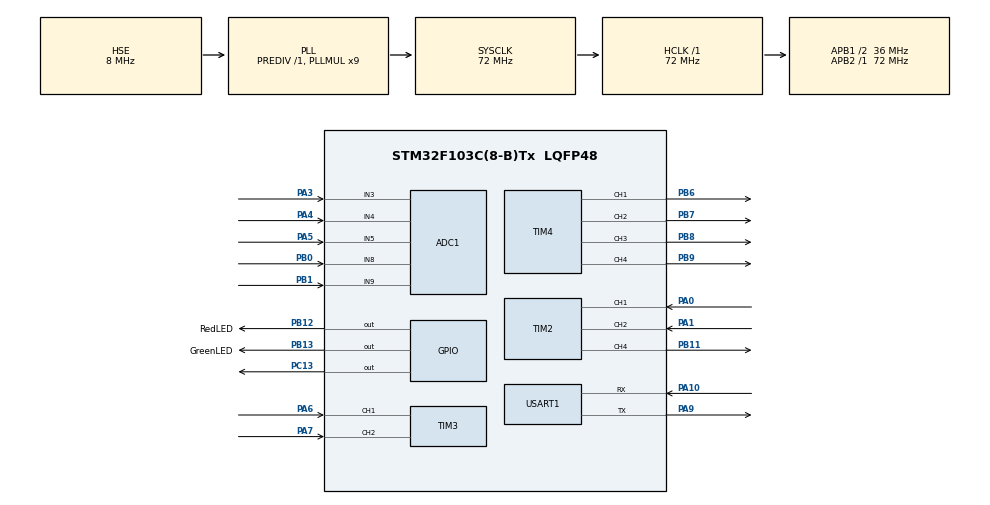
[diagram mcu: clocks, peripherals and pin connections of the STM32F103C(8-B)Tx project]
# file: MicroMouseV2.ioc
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ADC1.Channel-2\#ChannelRegularConversion=ADC_CHANNEL_3
ADC1.Channel-3\#ChannelRegularConversion=ADC_CHANNEL_4
ADC1.Channel-4\#ChannelRegularConversion=ADC_CHANNEL_5
ADC1.Channel-5\#ChannelRegularConversion=ADC_CHANNEL_8
ADC1.Channel-6\#ChannelRegularConversion=ADC_CHANNEL_9
ADC1.ContinuousConvMode=DISABLE
ADC1.NbrOfConversion=5
ADC1.NbrOfConversionFlag=1
ADC1.Rank-2\#ChannelRegularConversion=1
ADC1.Rank-3\#ChannelRegularConversion=2
ADC1.Rank-4\#ChannelRegularConversion=3
ADC1.Rank-5\#ChannelRegularConversion=4
ADC1.Rank-6\#ChannelRegularConversion=5
ADC1.SamplingTime-2\#ChannelRegularConversion=ADC_SAMPLETIME_13CYCLES_5
ADC1.SamplingTime-3\#ChannelRegularConversion=ADC_SAMPLETIME_13CYCLES_5
ADC1.SamplingTime-4\#ChannelRegularConversion=ADC_SAMPLETIME_13CYCLES_5
ADC1.SamplingTime-5\#ChannelRegularConversion=ADC_SAMPLETIME_13CYCLES_5
ADC1.SamplingTime-6\#ChannelRegularConversion=ADC_SAMPLETIME_13CYCLES_5
ADC1.master=1
Dma.ADC1.0.Direction=DMA_PERIPH_TO_MEMORY
Dma.ADC1.0.Instance=DMA1_Channel1
Dma.ADC1.0.MemDataAlignment=DMA_MDATAALIGN_HALFWORD
Dma.ADC1.0.MemInc=DMA_MINC_ENABLE
Dma.ADC1.0.Mode=DMA_CIRCULAR
Dma.ADC1.0.PeriphDataAlignment=DMA_PDATAALIGN_HALFWORD
Dma.ADC1.0.PeriphInc=DMA_PINC_DISABLE
Dma.ADC1.0.Priority=DMA_PRIORITY_LOW
Dma.Request0=ADC1
FREERTOS.Tasks01=OdometryUpdate,0,128,StartOdometryUpdate,Default,NULL,Dynamic,NULL,NULL;MotorController,0,128,StartMotorController,Default,NULL,Dynamic,NULL,NULL;PIDUpdate,0,128,StartPIDUpdate,Default,NULL,Dynamic,NULL,NULL;ReadIRSensors,-3,128,StartReadIRSensors,Default,NULL,Dynamic,NULL,NULL
FREERTOS.configUSE_NEWLIB_REENTRANT=1
Mcu.Family=STM32F1
Mcu.Name=STM32F103C(8-B)Tx
Mcu.Package=LQFP48
NVIC.DMA1_Channel1_IRQn=true\:5\:0\:false\:false\:true\:true\:false\:true\:true
NVIC.PriorityGroup=NVIC_PRIORITYGROUP_4
NVIC.RCC_IRQn=true\:5\:0\:false\:false\:true\:true\:true\:false\:true
NVIC.TIM1_UP_IRQn=true\:15\:0\:false\:false\:true\:false\:false\:true\:true
NVIC.TIM2_IRQn=true\:5\:0\:false\:false\:true\:true\:true\:true\:true
NVIC.TimeBase=TIM1_UP_IRQn
NVIC.TimeBaseIP=TIM1
NVIC.USART1_IRQn=true\:5\:0\:false\:false\:true\:true\:true\:true\:true
PA0-WKUP.Signal=S_TIM2_CH1_ETR
PA1.Signal=S_TIM2_CH2
PA10.Mode=Asynchronous
PA10.Signal=USART1_RX
PA3.Signal=SharedAnalog_PA3
PA4.Signal=SharedAnalog_PA4
PA5.Signal=SharedAnalog_PA5
PA6.Signal=S_TIM3_CH1
PA7.Signal=S_TIM3_CH2
PA9.Mode=Asynchronous
PA9.Signal=USART1_TX
PB0.Signal=SharedAnalog_PB0
PB1.Signal=SharedAnalog_PB1
PB11.Signal=S_TIM2_CH4
PB12.GPIO_Label=RedLED
PB12.Signal=GPIO_Output
PB13.GPIO_Label=GreenLED
PB13.Signal=GPIO_Output
PB6.Signal=S_TIM4_CH1
PB7.Signal=S_TIM4_CH2
PB8.Signal=S_TIM4_CH3
PB9.Signal=S_TIM4_CH4
PC13-TAMPER-RTC.Signal=GPIO_Output
PD0-OSC_IN.Mode=HSE-External-Oscillator
PD0-OSC_IN.Signal=RCC_OSC_IN
PD1-OSC_OUT.Mode=HSE-External-Oscillator
PD1-OSC_OUT.Signal=RCC_OSC_OUT
ProjectManager.HeapSize=0x200
ProjectManager.StackSize=0x400
ProjectManager.TargetToolchain=STM32CubeIDE
RCC.ADCPresc=RCC_ADCPCLK2_DIV6
RCC.AHBFreq_Value=72000000
RCC.APB1CLKDivider=RCC_HCLK_DIV2
RCC.APB1Freq_Value=36000000
RCC.APB1TimFreq_Value=72000000
RCC.APB2Freq_Value=72000000
RCC.APB2TimFreq_Value=72000000
RCC.HCLKFreq_Value=72000000
RCC.PLLMUL=RCC_PLL_MUL9
RCC.PLLSourceVirtual=RCC_PLLSOURCE_HSE
RCC.SYSCLKFreq_VALUE=72000000
RCC.SYSCLKSource=RCC_SYSCLKSOURCE_PLLCLK
RCC.USBFreq_Value=72000000
SH.S_TIM2_CH1_ETR.0=TIM2_CH1,Encoder_Interface
SH.S_TIM2_CH2.0=TIM2_CH2,Encoder_Interface
SH.S_TIM2_CH4.0=TIM2_CH4,PWM Generation4 CH4
SH.S_TIM3_CH1.0=TIM3_CH1,Encoder_Interface
SH.S_TIM3_CH2.0=TIM3_CH2,Encoder_Interface
SH.S_TIM4_CH1.0=TIM4_CH1,PWM Generation1 CH1
SH.S_TIM4_CH2.0=TIM4_CH2,PWM Generation2 CH2
SH.S_TIM4_CH3.0=TIM4_CH3,PWM Generation3 CH3
SH.S_TIM4_CH4.0=TIM4_CH4,PWM Generation4 CH4
SH.SharedAnalog_PA3.0=GPIO_Analog
SH.SharedAnalog_PA3.1=ADC1_IN3,IN3
SH.SharedAnalog_PA4.0=GPIO_Analog
SH.SharedAnalog_PA4.1=ADC1_IN4,IN4
SH.SharedAnalog_PA5.0=GPIO_Analog
SH.SharedAnalog_PA5.1=ADC1_IN5,IN5
SH.SharedAnalog_PB0.0=GPIO_Analog
SH.SharedAnalog_PB0.1=ADC1_IN8,IN8
SH.SharedAnalog_PB1.0=GPIO_Analog
SH.SharedAnalog_PB1.1=ADC1_IN9,IN9
TIM2.AutoReloadPreload=TIM_AUTORELOAD_PRELOAD_ENABLE
TIM2.Channel-PWM\ Generation4\ CH4=TIM_CHANNEL_4
TIM2.EncoderMode=TIM_ENCODERMODE_TI12
TIM2.IC1Filter=10
TIM2.IC2Filter=10
TIM4.AutoReloadPreload=TIM_AUTORELOAD_PRELOAD_ENABLE
TIM4.Channel-PWM\ Generation1\ CH1=TIM_CHANNEL_1
TIM4.Channel-PWM\ Generation2\ CH2=TIM_CHANNEL_2
TIM4.Channel-PWM\ Generation3\ CH3=TIM_CHANNEL_3
TIM4.Channel-PWM\ Generation4\ CH4=TIM_CHANNEL_4
USART1.VirtualMode=VM_ASYNC
VP_FREERTOS_VS_CMSIS_V1.Mode=CMSIS_V1
VP_SYS_VS_ND.Mode=No_Debug
VP_SYS_VS_tim1.Mode=TIM1
VP_TIM4_VS_ClockSourceINT.Mode=Internal
board=custom

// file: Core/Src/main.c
/* USER CODE BEGIN Header */
/**
  ******************************************************************************
  * @file           : main.c
  * @brief          : Main program body
  ******************************************************************************
  * @attention
  *
  * Copyright (c) 2022 STMicroelectronics.
  * All rights reserved.
  *
  * This software is licensed under terms that can be found in the LICENSE file
  * in the root directory of this software component.
  * If no LICENSE file comes with this software, it is provided AS-IS.
  *
  ******************************************************************************
  */
/* USER CODE END Header */
#include "main.h"
#include "cmsis_os.h"

/* USER CODE BEGIN Includes */
#include <math.h>
#include <stdio.h>
/* USER CODE END Includes */

ADC_HandleTypeDef hadc1;
DMA_HandleTypeDef hdma_adc1;

TIM_HandleTypeDef htim2;
TIM_HandleTypeDef htim3;
TIM_HandleTypeDef htim4;

UART_HandleTypeDef huart1;

osThreadId OdometryUpdateHandle;
osThreadId MotorControllerHandle;
osThreadId PIDUpdateHandle;
osThreadId ReadIRSensorsHandle;
/* USER CODE BEGIN PV */
//------IR Sensors-------//
volatile uint16_t adcResultsDMA[5];
const int adcChannelCount = sizeof (adcResultsDMA) / sizeof (adcResultsDMA[0]);
volatile int adcConversionComplete = 0;
char message[70] = {'\0'};
int lenMessage;
int CH1, CH2, CH3, CH4, CH5;
//------Motor PD---------//

//Initial Pose
double x = 0;
double y = 0;
float theta = 0;

#define mmPerTick 0.55   //Linear distance per tick of each encoder with the 63 mm wheel
#define L 152   //Distance wheel to wheel (mm)

//const float pi = 3.141592;
//New variables
int RTicks = 0;
int LTicks = 0;
int PrevRTicks = 0;
int PrevLTicks = 0;
int RdtTicks = 0;
int LdtTicks = 0;
float Rdist = 0;
float Ldist = 0;
float Cdist = 0;
float thetaDeg = 0;
float thetaDegError = 0;
//uint8_t message[50] = {'\0'};
//uint8_t message[50] = {'\0'};
int lenMessage;
//Goal variables

//const int gx = 0;
//const int gy = 300;

//PD variables and controller variables
#define Kp 3000
#define Kd 1500
#define errorToleranceReduce 60
#define errorToleranceStop 20
//#define errorToleranceStopRotation 30
#define dutyCycle 50000	//Dutycycle for velocity of the motors Resolution X/65535
#define dutyCycleReduced 30000	//Reduced dutycycle for especific error tolerance
#define dutyCycleRotation 30000

float e = 0;
float gtheta;
float eP = 0;
float eD = 0;
float last_e = 0;
int dutyCyclePD = 0;
float lastTime = 0;
float Time = 0;
int angleRotationControl = 15;

//PathFollower
int CntPathNode = 0;
#define pathSize 5
int XPoints[pathSize] = {1,1,2,2,3};
int YPoints[pathSize] = {0,1,1,0,0};

//-------Dijkstra---------//s

volatile int RTNextNode = 0;

int gx = 0;
int gy = 0;
/* USER CODE END PV */

void SystemClock_Config(void);
static void MX_GPIO_Init(void);
static void MX_DMA_Init(void);
static void MX_TIM2_Init(void);
static void MX_TIM3_Init(void);
static void MX_TIM4_Init(void);
static void MX_USART1_UART_Init(void);
static void MX_ADC1_Init(void);
void StartOdometryUpdate(void const * argument);
void StartMotorController(void const * argument);
void StartPIDUpdate(void const * argument);
void StartReadIRSensors(void const * argument);

int main(void)
{

  /* MCU Configuration--------------------------------------------------------*/

  /* Reset of all peripherals, Initializes the Flash interface and the Systick. */
  HAL_Init();

  /* Configure the system clock */
  SystemClock_Config();

  /* Initialize all configured peripherals */
  MX_GPIO_Init();
  MX_DMA_Init();
  MX_TIM2_Init();
  MX_TIM3_Init();
  MX_TIM4_Init();
  MX_USART1_UART_Init();
  MX_ADC1_Init();
  /* USER CODE BEGIN 2 */
  HAL_TIM_Encoder_Start(&htim2, TIM_CHANNEL_ALL);
  HAL_TIM_Encoder_Start(&htim3, TIM_CHANNEL_ALL);
  HAL_TIM_PWM_Start(&htim4, TIM_CHANNEL_4);
  HAL_TIM_PWM_Start(&htim4, TIM_CHANNEL_1);
  HAL_TIM_PWM_Start(&htim4, TIM_CHANNEL_2);
  HAL_TIM_PWM_Start(&htim4, TIM_CHANNEL_3);
  //IR Sensor
  HAL_ADC_Start_DMA(&hadc1, (uint32_t*)adcResultsDMA, 5);
  //
  gx = XPoints[CntPathNode]*180;
  gy = YPoints[CntPathNode]*180;

  /* USER CODE END 2 */

  /* Create the thread(s) */
  /* definition and creation of OdometryUpdate */
  osThreadDef(OdometryUpdate, StartOdometryUpdate, osPriorityNormal, 0, 128);
  OdometryUpdateHandle = osThreadCreate(osThread(OdometryUpdate), NULL);

  /* definition and creation of MotorController */
  osThreadDef(MotorController, StartMotorController, osPriorityNormal, 0, 128);
  MotorControllerHandle = osThreadCreate(osThread(MotorController), NULL);

  /* definition and creation of PIDUpdate */
  osThreadDef(PIDUpdate, StartPIDUpdate, osPriorityNormal, 0, 128);
  PIDUpdateHandle = osThreadCreate(osThread(PIDUpdate), NULL);

  /* definition and creation of ReadIRSensors */
  osThreadDef(ReadIRSensors, StartReadIRSensors, osPriorityIdle, 0, 128);
  ReadIRSensorsHandle = osThreadCreate(osThread(ReadIRSensors), NULL);

  /* Start scheduler */
  osKernelStart();

  /* We should never get here as control is now taken by the scheduler */
  /* Infinite loop */
  while (1)
  {

  }
}

void SystemClock_Config(void)
{
  RCC_OscInitTypeDef RCC_OscInitStruct = {0};
  RCC_ClkInitTypeDef RCC_ClkInitStruct = {0};
  RCC_PeriphCLKInitTypeDef PeriphClkInit = {0};

  /** Initializes the RCC Oscillators according to the specified parameters
  * in the RCC_OscInitTypeDef structure.
  */
  RCC_OscInitStruct.OscillatorType = RCC_OSCILLATORTYPE_HSE;
  RCC_OscInitStruct.HSEState = RCC_HSE_ON;
  RCC_OscInitStruct.HSEPredivValue = RCC_HSE_PREDIV_DIV1;
  RCC_OscInitStruct.HSIState = RCC_HSI_ON;
  RCC_OscInitStruct.PLL.PLLState = RCC_PLL_ON;
  RCC_OscInitStruct.PLL.PLLSource = RCC_PLLSOURCE_HSE;
  RCC_OscInitStruct.PLL.PLLMUL = RCC_PLL_MUL9;
  if (HAL_RCC_OscConfig(&RCC_OscInitStruct) != HAL_OK)
  {
    Error_Handler();
  }

  /** Initializes the CPU, AHB and APB buses clocks
  */
  RCC_ClkInitStruct.ClockType = RCC_CLOCKTYPE_HCLK|RCC_CLOCKTYPE_SYSCLK
                              |RCC_CLOCKTYPE_PCLK1|RCC_CLOCKTYPE_PCLK2;
  RCC_ClkInitStruct.SYSCLKSource = RCC_SYSCLKSOURCE_PLLCLK;
  RCC_ClkInitStruct.AHBCLKDivider = RCC_SYSCLK_DIV1;
  RCC_ClkInitStruct.APB1CLKDivider = RCC_HCLK_DIV2;
  RCC_ClkInitStruct.APB2CLKDivider = RCC_HCLK_DIV1;

  if (HAL_RCC_ClockConfig(&RCC_ClkInitStruct, FLASH_LATENCY_2) != HAL_OK)
  {
    Error_Handler();
  }
  PeriphClkInit.PeriphClockSelection = RCC_PERIPHCLK_ADC;
  PeriphClkInit.AdcClockSelection = RCC_ADCPCLK2_DIV6;
  if (HAL_RCCEx_PeriphCLKConfig(&PeriphClkInit) != HAL_OK)
  {
    Error_Handler();
  }
}

static void MX_ADC1_Init(void)
{

  ADC_ChannelConfTypeDef sConfig = {0};

  /** Common config
  */
  hadc1.Instance = ADC1;
  hadc1.Init.ScanConvMode = ADC_SCAN_ENABLE;
  hadc1.Init.ContinuousConvMode = DISABLE;
  hadc1.Init.DiscontinuousConvMode = DISABLE;
  hadc1.Init.ExternalTrigConv = ADC_SOFTWARE_START;
  hadc1.Init.DataAlign = ADC_DATAALIGN_RIGHT;
  hadc1.Init.NbrOfConversion = 5;
  if (HAL_ADC_Init(&hadc1) != HAL_OK)
  {
    Error_Handler();
  }

  /** Configure Regular Channel
  */
  sConfig.Channel = ADC_CHANNEL_3;
  sConfig.Rank = ADC_REGULAR_RANK_1;
  sConfig.SamplingTime = ADC_SAMPLETIME_13CYCLES_5;
  if (HAL_ADC_ConfigChannel(&hadc1, &sConfig) != HAL_OK)
  {
    Error_Handler();
  }

  /** Configure Regular Channel
  */
  sConfig.Channel = ADC_CHANNEL_4;
  sConfig.Rank = ADC_REGULAR_RANK_2;
  if (HAL_ADC_ConfigChannel(&hadc1, &sConfig) != HAL_OK)
  {
    Error_Handler();
  }

  /** Configure Regular Channel
  */
  sConfig.Channel = ADC_CHANNEL_5;
  sConfig.Rank = ADC_REGULAR_RANK_3;
  if (HAL_ADC_ConfigChannel(&hadc1, &sConfig) != HAL_OK)
  {
    Error_Handler();
  }

  /** Configure Regular Channel
  */
  sConfig.Channel = ADC_CHANNEL_8;
  sConfig.Rank = ADC_REGULAR_RANK_4;
  if (HAL_ADC_ConfigChannel(&hadc1, &sConfig) != HAL_OK)
  {
    Error_Handler();
  }

  /** Configure Regular Channel
  */
  sConfig.Channel = ADC_CHANNEL_9;
  sConfig.Rank = ADC_REGULAR_RANK_5;
  if (HAL_ADC_ConfigChannel(&hadc1, &sConfig) != HAL_OK)
  {
    Error_Handler();
  }

}

static void MX_TIM2_Init(void)
{

  TIM_Encoder_InitTypeDef sConfig = {0};
  TIM_MasterConfigTypeDef sMasterConfig = {0};
  TIM_OC_InitTypeDef sConfigOC = {0};

  htim2.Instance = TIM2;
  htim2.Init.Prescaler = 0;
  htim2.Init.CounterMode = TIM_COUNTERMODE_UP;
  htim2.Init.Period = 65535;
  htim2.Init.ClockDivision = TIM_CLOCKDIVISION_DIV1;
  htim2.Init.AutoReloadPreload = TIM_AUTORELOAD_PRELOAD_ENABLE;
  if (HAL_TIM_PWM_Init(&htim2) != HAL_OK)
  {
    Error_Handler();
  }
  sConfig.EncoderMode = TIM_ENCODERMODE_TI12;
  sConfig.IC1Polarity = TIM_ICPOLARITY_RISING;
  sConfig.IC1Selection = TIM_ICSELECTION_DIRECTTI;
  sConfig.IC1Prescaler = TIM_ICPSC_DIV1;
  sConfig.IC1Filter = 10;
  sConfig.IC2Polarity = TIM_ICPOLARITY_RISING;
  sConfig.IC2Selection = TIM_ICSELECTION_DIRECTTI;
  sConfig.IC2Prescaler = TIM_ICPSC_DIV1;
  sConfig.IC2Filter = 10;
  if (HAL_TIM_Encoder_Init(&htim2, &sConfig) != HAL_OK)
  {
    Error_Handler();
  }
  sMasterConfig.MasterOutputTrigger = TIM_TRGO_RESET;
  sMasterConfig.MasterSlaveMode = TIM_MASTERSLAVEMODE_DISABLE;
  if (HAL_TIMEx_MasterConfigSynchronization(&htim2, &sMasterConfig) != HAL_OK)
  {
    Error_Handler();
  }
  sConfigOC.OCMode = TIM_OCMODE_PWM1;
  sConfigOC.Pulse = 0;
  sConfigOC.OCPolarity = TIM_OCPOLARITY_HIGH;
  sConfigOC.OCFastMode = TIM_OCFAST_DISABLE;
  if (HAL_TIM_PWM_ConfigChannel(&htim2, &sConfigOC, TIM_CHANNEL_4) != HAL_OK)
  {
    Error_Handler();
  }
  HAL_TIM_MspPostInit(&htim2);

}

static void MX_TIM3_Init(void)
{

  TIM_Encoder_InitTypeDef sConfig = {0};
  TIM_MasterConfigTypeDef sMasterConfig = {0};

  htim3.Instance = TIM3;
  htim3.Init.Prescaler = 0;
  htim3.Init.CounterMode = TIM_COUNTERMODE_UP;
  htim3.Init.Period = 65535;
  htim3.Init.ClockDivision = TIM_CLOCKDIVISION_DIV1;
  htim3.Init.AutoReloadPreload = TIM_AUTORELOAD_PRELOAD_DISABLE;
  sConfig.EncoderMode = TIM_ENCODERMODE_TI1;
  sConfig.IC1Polarity = TIM_ICPOLARITY_RISING;
  sConfig.IC1Selection = TIM_ICSELECTION_DIRECTTI;
  sConfig.IC1Prescaler = TIM_ICPSC_DIV1;
  sConfig.IC1Filter = 0;
  sConfig.IC2Polarity = TIM_ICPOLARITY_RISING;
  sConfig.IC2Selection = TIM_ICSELECTION_DIRECTTI;
  sConfig.IC2Prescaler = TIM_ICPSC_DIV1;
  sConfig.IC2Filter = 0;
  if (HAL_TIM_Encoder_Init(&htim3, &sConfig) != HAL_OK)
  {
    Error_Handler();
  }
  sMasterConfig.MasterOutputTrigger = TIM_TRGO_RESET;
  sMasterConfig.MasterSlaveMode = TIM_MASTERSLAVEMODE_DISABLE;
  if (HAL_TIMEx_MasterConfigSynchronization(&htim3, &sMasterConfig) != HAL_OK)
  {
    Error_Handler();
  }

}

static void MX_TIM4_Init(void)
{

  TIM_ClockConfigTypeDef sClockSourceConfig = {0};
  TIM_MasterConfigTypeDef sMasterConfig = {0};
  TIM_OC_InitTypeDef sConfigOC = {0};

  htim4.Instance = TIM4;
  htim4.Init.Prescaler = 0;
  htim4.Init.CounterMode = TIM_COUNTERMODE_UP;
  htim4.Init.Period = 65535;
  htim4.Init.ClockDivision = TIM_CLOCKDIVISION_DIV1;
  htim4.Init.AutoReloadPreload = TIM_AUTORELOAD_PRELOAD_ENABLE;
  if (HAL_TIM_Base_Init(&htim4) != HAL_OK)
  {
    Error_Handler();
  }
  sClockSourceConfig.ClockSource = TIM_CLOCKSOURCE_INTERNAL;
  if (HAL_TIM_ConfigClockSource(&htim4, &sClockSourceConfig) != HAL_OK)
  {
    Error_Handler();
  }
  if (HAL_TIM_PWM_Init(&htim4) != HAL_OK)
  {
    Error_Handler();
  }
  sMasterConfig.MasterOutputTrigger = TIM_TRGO_RESET;
  sMasterConfig.MasterSlaveMode = TIM_MASTERSLAVEMODE_DISABLE;
  if (HAL_TIMEx_MasterConfigSynchronization(&htim4, &sMasterConfig) != HAL_OK)
  {
    Error_Handler();
  }
  sConfigOC.OCMode = TIM_OCMODE_PWM1;
  sConfigOC.Pulse = 0;
  sConfigOC.OCPolarity = TIM_OCPOLARITY_HIGH;
  sConfigOC.OCFastMode = TIM_OCFAST_DISABLE;
  if (HAL_TIM_PWM_ConfigChannel(&htim4, &sConfigOC, TIM_CHANNEL_1) != HAL_OK)
  {
    Error_Handler();
  }
  if (HAL_TIM_PWM_ConfigChannel(&htim4, &sConfigOC, TIM_CHANNEL_2) != HAL_OK)
  {
    Error_Handler();
  }
  if (HAL_TIM_PWM_ConfigChannel(&htim4, &sConfigOC, TIM_CHANNEL_3) != HAL_OK)
  {
    Error_Handler();
  }
  if (HAL_TIM_PWM_ConfigChannel(&htim4, &sConfigOC, TIM_CHANNEL_4) != HAL_OK)
  {
    Error_Handler();
  }
  HAL_TIM_MspPostInit(&htim4);

}

static void MX_USART1_UART_Init(void)
{

  huart1.Instance = USART1;
  huart1.Init.BaudRate = 115200;
  huart1.Init.WordLength = UART_WORDLENGTH_8B;
  huart1.Init.StopBits = UART_STOPBITS_1;
  huart1.Init.Parity = UART_PARITY_NONE;
  huart1.Init.Mode = UART_MODE_TX_RX;
  huart1.Init.HwFlowCtl = UART_HWCONTROL_NONE;
  huart1.Init.OverSampling = UART_OVERSAMPLING_16;
  if (HAL_UART_Init(&huart1) != HAL_OK)
  {
    Error_Handler();
  }

}

static void MX_DMA_Init(void)
{

  /* DMA controller clock enable */
  __HAL_RCC_DMA1_CLK_ENABLE();

  /* DMA interrupt init */
  /* DMA1_Channel1_IRQn interrupt configuration */
  HAL_NVIC_SetPriority(DMA1_Channel1_IRQn, 5, 0);
  HAL_NVIC_EnableIRQ(DMA1_Channel1_IRQn);

}

static void MX_GPIO_Init(void)
{
  GPIO_InitTypeDef GPIO_InitStruct = {0};

  /* GPIO Ports Clock Enable */
  __HAL_RCC_GPIOC_CLK_ENABLE();
  __HAL_RCC_GPIOD_CLK_ENABLE();
  __HAL_RCC_GPIOA_CLK_ENABLE();
  __HAL_RCC_GPIOB_CLK_ENABLE();

  /*Configure GPIO pin Output Level */
  HAL_GPIO_WritePin(GPIOC, GPIO_PIN_13, GPIO_PIN_RESET);

  /*Configure GPIO pin Output Level */
  HAL_GPIO_WritePin(GPIOB, RedLED_Pin|GreenLED_Pin, GPIO_PIN_RESET);

  /*Configure GPIO pin : PC13 */
  GPIO_InitStruct.Pin = GPIO_PIN_13;
  GPIO_InitStruct.Mode = GPIO_MODE_OUTPUT_PP;
  GPIO_InitStruct.Pull = GPIO_NOPULL;
  GPIO_InitStruct.Speed = GPIO_SPEED_FREQ_LOW;
  HAL_GPIO_Init(GPIOC, &GPIO_InitStruct);

  /*Configure GPIO pins : RedLED_Pin GreenLED_Pin */
  GPIO_InitStruct.Pin = RedLED_Pin|GreenLED_Pin;
  GPIO_InitStruct.Mode = GPIO_MODE_OUTPUT_PP;
  GPIO_InitStruct.Pull = GPIO_NOPULL;
  GPIO_InitStruct.Speed = GPIO_SPEED_FREQ_LOW;
  HAL_GPIO_Init(GPIOB, &GPIO_InitStruct);

}

/* USER CODE BEGIN 4 */
void HAL_ADC_ConvCpltCallback (ADC_HandleTypeDef *hadc){
	  CH1 = adcResultsDMA[0];
	  CH2 = adcResultsDMA[1];
	  CH3 = adcResultsDMA[2];
	  CH4 = adcResultsDMA[3];
	  CH5 = adcResultsDMA[4];
}
/* USER CODE END 4 */

void StartOdometryUpdate(void const * argument)
{
  /* USER CODE BEGIN 5 */
  /* Infinite loop */
  for(;;)
  {
	  RTicks = ((TIM2->CNT)>>2);
	  	  LTicks =  ((TIM3->CNT)>>2);

	  	  //CNT registers are 2^14

	  	  if  (RTicks >= 16000 && PrevRTicks <= 1000) {
	  		  RTicks = -(16383 - RTicks);
	  	  }

	  	  if  (LTicks >= 16000 && PrevLTicks <= 1000) {
	  		  LTicks = -(16383 - LTicks);
	  	  }

	  	  if  (RTicks <= 1000 && PrevRTicks >= 16000) {
	  		  RTicks = RTicks + (16383 - PrevRTicks);
	  	  }

	  	  if  (LTicks <= 1000 && PrevLTicks >= 16000) {
	  		  LTicks = LTicks + (16383 - PrevLTicks);
	  	  }

	  	  RdtTicks = RTicks - PrevRTicks;
	  	  LdtTicks = LTicks - PrevLTicks;

	  	  Rdist = mmPerTick*RdtTicks;
	  	  Ldist = 2*mmPerTick*LdtTicks;  //Resolution of left encoder is 1/2 of the right encoder
	  	  Cdist = (Rdist + Ldist)/2;

	  	  x = x + Cdist*cos(theta);
	  	  y = y + Cdist*sin(theta);

	  	  theta = theta + ((Rdist - Ldist)/L);
	  	  theta = atan2(sin(theta), cos(theta));
	  	  thetaDeg = theta*(180/3.1416);

	  	  PrevRTicks = RTicks;
	  	  PrevLTicks = LTicks;

	  	  //Debugging via UART
	  	  int xs, ys, ts, Rs, Ls, Cs;
	  	  xs = x;
	  	  ys = y;
	  	  ts = thetaDeg;
	  	  Rs = Rdist;
	  	  Ls = Ldist;
	  	  Cs = Cdist;

	  	  lenMessage = sprintf(message, "x = %d | y = %d | theta = %d |  gx = %d | cnt = %d \n\r", xs, ys, ts, gx, CntPathNode);
	  	  HAL_UART_Transmit(&huart1, (uint8_t *)message, lenMessage, 15);
  //	  lenMessage = sprintf(message, "Rdist = %d | Ldist = %d | Cdist = %d \n\r", Rs, Ls, Cs);
  //	  HAL_UART_Transmit(&huart1, (uint8_t *)message, lenMessage, 15);
  //	  lenMessage = sprintf(message, "LeftEncoder= %d| RightEncoder= %d \n\r", ((TIM3->CNT)>>2), ((TIM2->CNT)>>2) );
  //	  HAL_UART_Transmit(&huart1, (uint8_t *)message, lenMessage, 15);
	  	  HAL_GPIO_TogglePin(GPIOC, GPIO_PIN_13); //Toggle the state of pin PC13
	  	  //------------------------------------------------------//

	  	  osDelay(15);
  }
  /* USER CODE END 5 */
}

void StartMotorController(void const * argument)
{
  /* USER CODE BEGIN StartMotorController */
  /* Infinite loop */
  for(;;)
  {
	  if ((thetaDegError >= angleRotationControl || thetaDegError <= -angleRotationControl) && (errorToleranceReduce <= sqrt(pow(gx-x, 2)+pow(gy-y, 2)))){
		  angleRotationControl = 10;
		  if (thetaDegError < 0) {
			  TIM4->CCR1 = dutyCycleRotation;
			  TIM4->CCR2 = 0;
			  TIM4->CCR3 = dutyCycleRotation;
			  TIM4->CCR4 = 0;
		  }
		  else {
			  TIM4->CCR1 = 0;
			  TIM4->CCR2 = dutyCycleRotation;
			  TIM4->CCR3 = 0;
			  TIM4->CCR4 = dutyCycleRotation;
		  }
	  }

	  else {
		  angleRotationControl = 15;
		  RTNextNode = 1; //Rotation Flag to avoid dealing with the angle controller ^^ problem while following a straight Coord/Line
		  if (errorToleranceReduce <= sqrt(pow(gx-x, 2)+pow(gy-y, 2))){		  //Error tolerance within the euclidean distance of the robot to goal
			  TIM4->CCR1 = 0;
			  TIM4->CCR2 = dutyCycle-dutyCyclePD;
			  TIM4->CCR3 = dutyCycle+dutyCyclePD;
			  TIM4->CCR4 = 0;
		  }
		  else if (errorToleranceStop <= sqrt(pow(gx-x, 2)+pow(gy-y, 2))){
			  TIM4->CCR1 = 0;
			  TIM4->CCR2 = dutyCycleReduced; //++
			  TIM4->CCR3 = dutyCycleReduced;
			  TIM4->CCR4 = 0;
		  }
		  else {
			  TIM4->CCR1 = 0;
			  TIM4->CCR2 = 0;
			  TIM4->CCR3 = 0;
			  TIM4->CCR4 = 0;

			  RTNextNode = 0; //Rotation Flag Off to avoid dealing with the angle controller ^^ problem while following a straight Coord/Line

			  HAL_Delay(1000);

			  if (pathSize-1 > CntPathNode){
				  CntPathNode++;
				  gx = XPoints[CntPathNode]*180;
				  gy = YPoints[CntPathNode]*180;
//
//				  gtheta = atan2((gy-y), (gx-x));
//				  e = gtheta - theta;
//				  e = atan2(sin(e), cos(e));
//				  thetaDegError = (gtheta-theta)*(180/3.1416);
//
//				  if (thetaDegError >= 45 || thetaDegError <= -45) {
//					  RTNextNode = 1;
//				  }
			  }

		  }
	  }
	  osDelay(15);
  }

  /* USER CODE END StartMotorController */
}

void StartPIDUpdate(void const * argument)
{
  /* USER CODE BEGIN StartPIDUpdate */
  /* Infinite loop */
  for(;;)
  {
	  gtheta = atan2((gy-y), (gx-x));
	  e = gtheta - theta;
	  e = atan2(sin(e), cos(e));
	  eP = e*Kp;
	  Time = HAL_GetTick();
	  eD = ((e-last_e)/(Time - lastTime))*Kd;
	  last_e = e;
	  lastTime = Time;
	  dutyCyclePD = eP + eD;

	  thetaDegError = (gtheta-theta)*(180/3.1416);

	  //Debugging via UART
	  int ePs, eDs, gthetaDeg, thes;
	  ePs = eP;
	  eDs = eD;
	  gthetaDeg = gtheta*(180/3.1416);
	  thes = thetaDegError;

	  lenMessage = sprintf(message, "eP = %d | eD = %d | gtheta = %d | thetaError = %d \n\r", ePs, eDs, gthetaDeg, thes);
	  HAL_UART_Transmit(&huart1, (uint8_t *)message, lenMessage, 15);
	  //------------------------------------------------------//
	  osDelay(25);
  }
  /* USER CODE END StartPIDUpdate */
}

void StartReadIRSensors(void const * argument)
{
  /* USER CODE BEGIN StartReadIRSensors */
  /* Infinite loop */
  for(;;)
  {
	  HAL_ADC_Start_DMA(&hadc1, (uint32_t*)adcResultsDMA, 5);
	  lenMessage = sprintf(message, "CH1 = %d | CH2 = %d | CH3 = %d | CH4 = %d | CH5 = %d \n\r", CH1, CH2, CH3, CH4, CH5);
	  HAL_UART_Transmit(&huart1, (uint8_t *)message, lenMessage, 15);
	  osDelay(100);
  }
  /* USER CODE END StartReadIRSensors */
}

void HAL_TIM_PeriodElapsedCallback(TIM_HandleTypeDef *htim)
{
  if (htim->Instance == TIM1) {
    HAL_IncTick();
  }
}

void Error_Handler(void)
{
  __disable_irq();
  while (1)
  {
  }
}

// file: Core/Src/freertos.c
/* USER CODE BEGIN Header */
/**
  ******************************************************************************
  * File Name          : freertos.c
  * Description        : Code for freertos applications
  ******************************************************************************
  * @attention
  *
  * Copyright (c) 2022 STMicroelectronics.
  * All rights reserved.
  *
  * This software is licensed under terms that can be found in the LICENSE file
  * in the root directory of this software component.
  * If no LICENSE file comes with this software, it is provided AS-IS.
  *
  ******************************************************************************
  */
/* USER CODE END Header */

#include "FreeRTOS.h"
#include "task.h"
#include "main.h"

/* GetIdleTaskMemory prototype (linked to static allocation support) */
void vApplicationGetIdleTaskMemory( StaticTask_t **ppxIdleTaskTCBBuffer, StackType_t **ppxIdleTaskStackBuffer, uint32_t *pulIdleTaskStackSize );

/* USER CODE BEGIN GET_IDLE_TASK_MEMORY */
static StaticTask_t xIdleTaskTCBBuffer;
static StackType_t xIdleStack[configMINIMAL_STACK_SIZE];

void vApplicationGetIdleTaskMemory( StaticTask_t **ppxIdleTaskTCBBuffer, StackType_t **ppxIdleTaskStackBuffer, uint32_t *pulIdleTaskStackSize )
{
  *ppxIdleTaskTCBBuffer = &xIdleTaskTCBBuffer;
  *ppxIdleTaskStackBuffer = &xIdleStack[0];
  *pulIdleTaskStackSize = configMINIMAL_STACK_SIZE;
  /* place for user code */
}
/* USER CODE END GET_IDLE_TASK_MEMORY */
